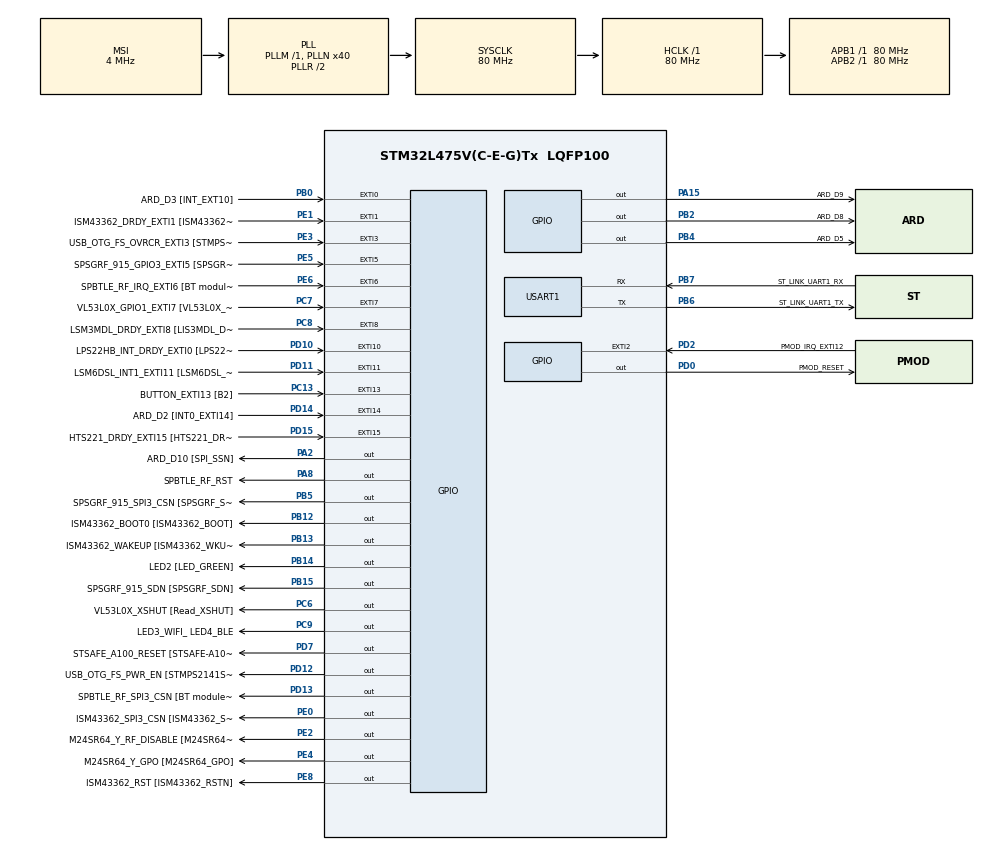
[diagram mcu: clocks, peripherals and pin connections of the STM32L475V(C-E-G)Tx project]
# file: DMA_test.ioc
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ADC1.Channel-0\#ChannelRegularConversion=ADC_CHANNEL_TEMPSENSOR
ADC1.NbrOfConversionFlag=1
ADC1.OffsetNumber-0\#ChannelRegularConversion=ADC_OFFSET_NONE
ADC1.Rank-0\#ChannelRegularConversion=1
ADC1.Resolution=ADC_RESOLUTION_10B
ADC1.SamplingTime-0\#ChannelRegularConversion=ADC_SAMPLETIME_2CYCLES_5
ADC1.master=1
Dma.Request0=USART1_RX
Dma.Request1=USART1_TX
Dma.USART1_RX.0.Direction=DMA_PERIPH_TO_MEMORY
Dma.USART1_RX.0.Instance=DMA1_Channel5
Dma.USART1_RX.0.MemDataAlignment=DMA_MDATAALIGN_BYTE
Dma.USART1_RX.0.MemInc=DMA_MINC_ENABLE
Dma.USART1_RX.0.Mode=DMA_NORMAL
Dma.USART1_RX.0.PeriphDataAlignment=DMA_PDATAALIGN_BYTE
Dma.USART1_RX.0.PeriphInc=DMA_PINC_DISABLE
Dma.USART1_RX.0.Priority=DMA_PRIORITY_LOW
Dma.USART1_TX.1.Direction=DMA_MEMORY_TO_PERIPH
Dma.USART1_TX.1.Instance=DMA1_Channel4
Dma.USART1_TX.1.MemDataAlignment=DMA_MDATAALIGN_BYTE
Dma.USART1_TX.1.MemInc=DMA_MINC_ENABLE
Dma.USART1_TX.1.Mode=DMA_NORMAL
Dma.USART1_TX.1.PeriphDataAlignment=DMA_PDATAALIGN_BYTE
Dma.USART1_TX.1.PeriphInc=DMA_PINC_DISABLE
Dma.USART1_TX.1.Priority=DMA_PRIORITY_LOW
Mcu.Family=STM32L4
Mcu.Name=STM32L475V(C-E-G)Tx
Mcu.Package=LQFP100
NVIC.ADC1_2_IRQn=true\:0\:0\:false\:false\:true\:true
NVIC.DMA1_Channel4_IRQn=true\:0\:0\:false\:false\:true\:false
NVIC.DMA1_Channel5_IRQn=true\:0\:0\:false\:false\:true\:false
NVIC.EXTI15_10_IRQn=true\:0\:0\:false\:false\:true\:true
NVIC.EXTI9_5_IRQn=true\:0\:0\:false\:false\:true\:true
NVIC.PriorityGroup=NVIC_PRIORITYGROUP_4
NVIC.USART1_IRQn=true\:0\:0\:false\:false\:true\:true
PA0.GPIO_Label=ARD_D1 [UART4_TX]
PA0.Signal=UART4_TX
PA1.GPIO_Label=ARD_D0 [UART4_RX]
PA1.Signal=UART4_RX
PA10.GPIO_Label=USB_OTG_FS_ID
PA10.Signal=USB_OTG_FS_ID
PA11.GPIO_Label=USB_OTG_FS_DM
PA11.Signal=USB_OTG_FS_DM
PA12.GPIO_Label=USB_OTG_FS_DP
PA12.Signal=USB_OTG_FS_DP
PA13\ (JTMS-SWDIO).GPIO_Label=SYS_JTMS_SWDIO
PA13\ (JTMS-SWDIO).Signal=SYS_JTMS-SWDIO
PA14\ (JTCK-SWCLK).GPIO_Label=SYS_JTCK_SWCLK
PA14\ (JTCK-SWCLK).Signal=SYS_JTCK-SWCLK
PA15\ (JTDI).GPIO_Label=ARD_D9
PA15\ (JTDI).Signal=GPIO_Output
PA2.GPIO_Label=ARD_D10 [SPI_SSN]
PA2.Signal=GPIO_Output
PA3.GPIO_Label=ARD_D4
PA3.Signal=S_TIM2_CH4
PA4.GPIO_Label=ARD_D7
PA4.Signal=ADCx_IN9
PA5.GPIO_Label=ARD_D13 [SPI1_SCK]
PA5.Signal=SPI1_SCK
PA6.GPIO_Label=ARD_D12 [SPI1_MISO]
PA6.Signal=SPI1_MISO
PA7.GPIO_Label=ARD_D11 [SPI1_MOSI]
PA7.Signal=SPI1_MOSI
PA8.GPIO_Label=SPBTLE_RF_RST
PA8.Signal=GPIO_Output
PA9.GPIO_Label=USB_OTG_FS_VBUS [STMPS2141STR_OUT]
PA9.Signal=USB_OTG_FS_VBUS
PB0.GPIO_Label=ARD_D3 [INT_EXT10]
PB0.Signal=GPXTI0
PB1.GPIO_Label=ARD_D6 [ADC1_IN6]
PB1.Signal=ADCx_IN16
PB10.GPIO_Label=INTERNAL_I2C2_SCL [VL53L0X_SCL]
PB10.Signal=I2C2_SCL
PB11.GPIO_Label=INTERNAL_I2C2_SDA [VL53L0X_SDA]
PB11.Signal=I2C2_SDA
PB12.GPIO_Label=ISM43362_BOOT0 [ISM43362_BOOT]
PB12.Signal=GPIO_Output
PB13.GPIO_Label=ISM43362_WAKEUP [ISM43362_WKUP]
PB13.Signal=GPIO_Output
PB14.GPIO_Label=LED2 [LED_GREEN]
PB14.Signal=GPIO_Output
PB15.GPIO_Label=SPSGRF_915_SDN [SPSGRF_SDN]
PB15.Signal=GPIO_Output
PB2.GPIO_Label=ARD_D8
PB2.Signal=GPIO_Output
PB3\ (JTDO-TRACESWO).GPIO_Label=SYS_JTD0_SWO
PB3\ (JTDO-TRACESWO).Signal=SYS_JTDO-SWO
PB4\ (NJTRST).GPIO_Label=ARD_D5
PB4\ (NJTRST).Signal=GPIO_Output
PB5.GPIO_Label=SPSGRF_915_SPI3_CSN [SPSGRF_SPI_CS]
PB5.Signal=GPIO_Output
PB6.GPIO_Label=ST_LINK_UART1_TX
PB6.Mode=Asynchronous
PB6.Signal=USART1_TX
PB7.GPIO_Label=ST_LINK_UART1_RX
PB7.Mode=Asynchronous
PB7.Signal=USART1_RX
PB8.GPIO_Label=ARD_D15 [I2C1_SCL]
PB8.Signal=I2C1_SCL
PB9.GPIO_Label=ARD_D14 [I2C1_SDA]
PB9.Signal=I2C1_SDA
PC0.GPIO_Label=ARD_A5 [ADC]
PC0.Signal=ADCx_IN1
PC1.GPIO_Label=ARD_A4 [ADC]
PC1.Signal=ADCx_IN2
PC10.GPIO_Label=INTERNAL_SPI3_SCK [BT module_SPI_SCLK]
PC10.Signal=SPI3_SCK
PC11.GPIO_Label=INTERNAL_SPI3_MISO [BT module_SPI_MISO]
PC11.Signal=SPI3_MISO
PC12.GPIO_Label=INTERNAL_SPI3_MOSI [BT module_SPI_MOSI]
PC12.Signal=SPI3_MOSI
PC13.GPIO_Label=BUTTON_EXTI13 [B2]
PC13.GPIO_ModeDefaultEXTI=GPIO_MODE_IT_FALLING
PC13.Signal=GPXTI13
PC14-OSC32_IN\ (PC14).Signal=RCC_OSC32_IN
PC15-OSC32_OUT\ (PC15).Signal=RCC_OSC32_OUT
PC2.GPIO_Label=ARD_A3 [ADC]
PC2.Signal=ADCx_IN3
PC3.GPIO_Label=ARD_A2 [ADC]
PC3.Signal=ADCx_IN4
PC4.GPIO_Label=ARD_A1 [ADC]
PC4.Signal=ADCx_IN13
PC5.GPIO_Label=ARD_A0 [ADC]
PC5.Signal=ADCx_IN14
PC6.GPIO_Label=VL53L0X_XSHUT [Read_XSHUT]
PC6.Signal=GPIO_Output
PC7.GPIO_Label=VL53L0X_GPIO1_EXTI7 [VL53L0X_GPIO1]
PC7.Signal=GPXTI7
PC8.GPIO_Label=LSM3MDL_DRDY_EXTI8 [LIS3MDL_DRDY]
PC8.Signal=GPXTI8
PC9.GPIO_Label=LED3_WIFI_ LED4_BLE
PC9.Signal=GPIO_Output
PD0.GPIO_Label=PMOD_RESET
PD0.Signal=GPIO_Output
PD1.GPIO_Label=PMOD_SPI2_SCK
PD1.Signal=SPI2_SCK
PD10.GPIO_Label=LPS22HB_INT_DRDY_EXTI0 [LPS22HB_INT_DRDY] 
PD10.Signal=GPXTI10
PD11.GPIO_Label=LSM6DSL_INT1_EXTI11 [LSM6DSL_INT1]
PD11.Signal=GPXTI11
PD12.GPIO_Label=USB_OTG_FS_PWR_EN [STMPS2141STR_EN]
PD12.Signal=GPIO_Output
PD13.GPIO_Label=SPBTLE_RF_SPI3_CSN [BT module_SPI_CS]
PD13.Signal=GPIO_Output
PD14.GPIO_Label=ARD_D2 [INT0_EXTI14]
PD14.Signal=GPXTI14
PD15.GPIO_Label=HTS221_DRDY_EXTI15 [HTS221_DRDY]
PD15.Signal=GPXTI15
PD2.GPIO_Label=PMOD_IRQ_EXTI12
PD2.Signal=GPXTI2
PD3.GPIO_Label=PMOD_UART2_CTS
PD3.Signal=USART2_CTS
PD4.GPIO_Label=PMOD_UART2_RTS
PD4.Signal=USART2_RTS
PD5.GPIO_Label=PMOD_UART2_TX
PD5.Signal=USART2_TX
PD6.GPIO_Label=PMOD_UART2_RX
PD6.Signal=USART2_RX
PD7.GPIO_Label=STSAFE_A100_RESET [STSAFE-A100_RESET]
PD7.Signal=GPIO_Output
PD8.GPIO_Label=INTERNAL_UART3_TX [ISM43362_RX]
PD8.Signal=USART3_TX
PD9.GPIO_Label=INTERNAL_UART3_RX [ISM43362_TX]
PD9.Signal=USART3_RX
PE0.GPIO_Label=ISM43362_SPI3_CSN [ISM43362_SSN]
PE0.Signal=GPIO_Output
PE1.GPIO_Label=ISM43362_DRDY_EXTI1 [ISM43362_DATARDY]
PE1.Signal=GPXTI1
PE10.GPIO_Label=QUADSPI_CLK [MX25R6435F_SCLK]
PE10.Signal=QUADSPI_CLK
PE11.GPIO_Label=QUADSPI_NCS [MX25R6435F_SCLK]
PE11.Signal=QUADSPI_NCS
PE12.GPIO_Label=OQUADSPI_BK1_IO0 [MX25R6435F_IO0]
PE12.Signal=QUADSPI_BK1_IO0
PE13.GPIO_Label=QUADSPI_BK1_IO1 [MX25R6435F_IO1]
PE13.Signal=QUADSPI_BK1_IO1
PE14.GPIO_Label=QUAD_SPI_BK1_IO2 [MX25R6435F_IO2]
PE14.Signal=QUADSPI_BK1_IO2
PE15.GPIO_Label=QUAD_SPI_BK1_IO3 [MX25R6435F_IO3]
PE15.Signal=QUADSPI_BK1_IO3
PE2.GPIO_Label=M24SR64_Y_RF_DISABLE [M24SR64_RFDIS]
PE2.Signal=GPIO_Output
PE3.GPIO_Label=USB_OTG_FS_OVRCR_EXTI3 [STMPS2141STR_FAULT]
PE3.Signal=GPXTI3
PE4.GPIO_Label=M24SR64_Y_GPO [M24SR64_GPO]
PE4.Signal=GPIO_Output
PE5.GPIO_Label=SPSGRF_915_GPIO3_EXTI5 [SPSGRF_GPIO_3]
PE5.Signal=GPXTI5
PE6.GPIO_Label=SPBTLE_RF_IRQ_EXTI6 [BT module_SPI_IRQ]
PE6.Signal=GPXTI6
PE7.GPIO_Label=DFSDM1_DATIN2 [MP34DT01_DOUT]
PE7.Signal=S_DATAIN2DFSDM1
PE8.GPIO_Label=ISM43362_RST [ISM43362_RSTN]
PE8.Signal=GPIO_Output
PE9.GPIO_Label=DFSDM1_CKOUT [MP34DT01_CLK]
PE9.Signal=S_CKOUTDFSDM1
ProjectManager.HeapSize=0x200
ProjectManager.StackSize=0x400
ProjectManager.TargetToolchain=MDK-ARM V5
RCC.ADCFreq_Value=48000000
RCC.AHBFreq_Value=80000000
RCC.APB1Freq_Value=80000000
RCC.APB1TimFreq_Value=80000000
RCC.APB2Freq_Value=80000000
RCC.APB2TimFreq_Value=80000000
RCC.CortexFreq_Value=80000000
RCC.HCLKFreq_Value=80000000
RCC.HSE_VALUE=8000000
RCC.HSI_VALUE=16000000
RCC.LSE_VALUE=32768
RCC.MSI_VALUE=4000000
RCC.PLLN=40
RCC.PLLSAI1N=24
RCC.SYSCLKFreq_VALUE=80000000
RCC.SYSCLKSource=RCC_SYSCLKSOURCE_PLLCLK
RCC.USBFreq_Value=48000000
RCC.VCOOutputFreq_Value=160000000
SH.ADCx_IN1.0=ADC1_IN1
SH.ADCx_IN13.0=ADC1_IN13
SH.ADCx_IN14.0=ADC1_IN14
SH.ADCx_IN16.0=ADC1_IN16
SH.ADCx_IN2.0=ADC1_IN2
SH.ADCx_IN3.0=ADC1_IN3
SH.ADCx_IN4.0=ADC1_IN4
SH.ADCx_IN9.0=ADC1_IN9
SH.S_CKOUTDFSDM1.0=DFSDM1_CKOUT
SH.S_DATAIN2DFSDM1.0=DFSDM1_DATIN2
SH.S_TIM2_CH4.0=TIM2_CH4
USART1.VirtualMode-Asynchronous=VM_ASYNC
VP_ADC1_TempSens_Input.Mode=IN-TempSens
board=B-L475E-IOT01A

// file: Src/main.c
/**
  ******************************************************************************
  * @file           : main.c
  * @brief          : Main program body
  ******************************************************************************
  ** This notice applies to any and all portions of this file
  * that are not between comment pairs USER CODE BEGIN and
  * USER CODE END. Other portions of this file, whether
  * inserted by the user or by software development tools
  * are owned by their respective copyright owners.
  *
  * COPYRIGHT(c) 2018 STMicroelectronics
  *
  * Redistribution and use in source and binary forms, with or without modification,
  * are permitted provided that the following conditions are met:
  *   1. Redistributions of source code must retain the above copyright notice,
  *      this list of conditions and the following disclaimer.
  *   2. Redistributions in binary form must reproduce the above copyright notice,
  *      this list of conditions and the following disclaimer in the documentation
  *      and/or other materials provided with the distribution.
  *   3. Neither the name of STMicroelectronics nor the names of its contributors
  *      may be used to endorse or promote products derived from this software
  *      without specific prior written permission.
  *
  * THIS SOFTWARE IS PROVIDED BY THE COPYRIGHT HOLDERS AND CONTRIBUTORS "AS IS"
  * AND ANY EXPRESS OR IMPLIED WARRANTIES, INCLUDING, BUT NOT LIMITED TO, THE
  * IMPLIED WARRANTIES OF MERCHANTABILITY AND FITNESS FOR A PARTICULAR PURPOSE ARE
  * DISCLAIMED. IN NO EVENT SHALL THE COPYRIGHT HOLDER OR CONTRIBUTORS BE LIABLE
  * FOR ANY DIRECT, INDIRECT, INCIDENTAL, SPECIAL, EXEMPLARY, OR CONSEQUENTIAL
  * DAMAGES (INCLUDING, BUT NOT LIMITED TO, PROCUREMENT OF SUBSTITUTE GOODS OR
  * SERVICES; LOSS OF USE, DATA, OR PROFITS; OR BUSINESS INTERRUPTION) HOWEVER
  * CAUSED AND ON ANY THEORY OF LIABILITY, WHETHER IN CONTRACT, STRICT LIABILITY,
  * OR TORT (INCLUDING NEGLIGENCE OR OTHERWISE) ARISING IN ANY WAY OUT OF THE USE
  * OF THIS SOFTWARE, EVEN IF ADVISED OF THE POSSIBILITY OF SUCH DAMAGE.
  *
  ******************************************************************************
  */
#include "main.h"
#include "stm32l4xx_hal.h"

ADC_HandleTypeDef hadc1;

UART_HandleTypeDef huart1;
DMA_HandleTypeDef hdma_usart1_rx;
DMA_HandleTypeDef hdma_usart1_tx;

/* USER CODE BEGIN PV */
/* Private variables ---------------------------------------------------------*/
uint8_t sensorTemp;
int tens;
int ones;
int realTemp;
int t;
uint32_t Reload;
int flag;
/* USER CODE END PV */

void SystemClock_Config(void);
static void MX_GPIO_Init(void);
static void MX_DMA_Init(void);
static void MX_ADC1_Init(void);
static void MX_USART1_UART_Init(void);

/* USER CODE BEGIN PFP */
/* Private function prototypes -----------------------------------------------*/
int UART_Print_String(UART_HandleTypeDef * uart_pointer, char * array_ptr, int no_of_items);
int UART_Print_String_DMA(UART_HandleTypeDef * uart_pointer, char * array, int no_of_items);
/* USER CODE END PFP */

int main(void)
{
  /* USER CODE BEGIN 1 */
	char ch[5] = {'j','o','b','s','\n'};
	char temp[18]= {'T','e','m','p','e','r','a','t','u','r','e',':',' ','0','0','C','\r','\n'};
	char array[30];
	int counter = 0;
  /* USER CODE END 1 */

  /* MCU Configuration----------------------------------------------------------*/

  /* Reset of all peripherals, Initializes the Flash interface and the Systick. */
  HAL_Init();

  /* Configure the system clock */
  SystemClock_Config();

  /* Initialize all configured peripherals */
  MX_GPIO_Init();
  MX_DMA_Init();
  MX_ADC1_Init();
  MX_USART1_UART_Init();

  /* Infinite loop */
  /* USER CODE BEGIN WHILE */
  while (1)
  {
		// dma
		//HAL_DMA_Start(&hdma_usart1_tx, sensorTemp, (uint32_t)&array, 30);
		//HAL_Delay(100);

		// using interrupt
		if(flag == 1) {
			HAL_ADC_Start(&hadc1);
			HAL_DMA_Start(&hdma_usart1_tx, sensorTemp, (uint32_t)&array, 30);
			flag = 0;

		// end of interrupt code

			// look for temperature vals
			if(HAL_ADC_PollForConversion(&hadc1, 3000) == HAL_OK){
				//HAL_ADC_ConvCpltCallback(&hadc1);
				sensorTemp = (uint8_t)HAL_ADC_GetValue(&hadc1);
				//HAL_ADC_Stop(&hadc1);

				//HAL_UART_Transmit(&huart1, (uint8_t *)&ch[0], 5, 30000);
				//sensorTemp = sensorTemp *(100/256);
				sensorTemp = __HAL_ADC_CALC_TEMPERATURE(3300,sensorTemp, ADC_RESOLUTION_10B);
				//sensorTemp -= 20; //for calibration
				//realTemp =(sensorTemp - 760)/(2.5 + 25);

				//tens = (realTemp/10);
				tens = (sensorTemp/10);
				ones = sensorTemp-(tens*10);
				//ones = (realTemp % 10);

				//holder = tens + '0';
				//holder2 = ones + '0';

				temp[13] = tens + '0';
				temp[14] = ones + '0';

				if (counter < 30){
					array[counter] = tens + '0';
					counter++;
					array[counter] = ones + '0';
					counter++;
					array[counter] = '\n';
					counter++;
				}
				if (counter == 30) {
					UART_Print_String_DMA(&huart1, &array[0], 30);

					// HAL_UART_Transmit_DMA(&huart1, (uint8_t *) array, 30);
					//UART_Print_String(&huart1, &array[0], 30);
					counter = 0;
				}
				//UART_Print_String(&huart1, &temp[0], 18);
				//HAL_UART_Transmit(&huart1, (uint8_t *)&temp[0], 18, 3000);
			}
		}

  /* USER CODE END WHILE */

  }

}

void SystemClock_Config(void)
{

  RCC_OscInitTypeDef RCC_OscInitStruct;
  RCC_ClkInitTypeDef RCC_ClkInitStruct;
  RCC_PeriphCLKInitTypeDef PeriphClkInit;

    /**Initializes the CPU, AHB and APB busses clocks
    */
  RCC_OscInitStruct.OscillatorType = RCC_OSCILLATORTYPE_MSI;
  RCC_OscInitStruct.MSIState = RCC_MSI_ON;
  RCC_OscInitStruct.MSICalibrationValue = 0;
  RCC_OscInitStruct.MSIClockRange = RCC_MSIRANGE_6;
  RCC_OscInitStruct.PLL.PLLState = RCC_PLL_ON;
  RCC_OscInitStruct.PLL.PLLSource = RCC_PLLSOURCE_MSI;
  RCC_OscInitStruct.PLL.PLLM = 1;
  RCC_OscInitStruct.PLL.PLLN = 40;
  RCC_OscInitStruct.PLL.PLLP = RCC_PLLP_DIV7;
  RCC_OscInitStruct.PLL.PLLQ = RCC_PLLQ_DIV2;
  RCC_OscInitStruct.PLL.PLLR = RCC_PLLR_DIV2;
  if (HAL_RCC_OscConfig(&RCC_OscInitStruct) != HAL_OK)
  {
    _Error_Handler(__FILE__, __LINE__);
  }

    /**Initializes the CPU, AHB and APB busses clocks
    */
  RCC_ClkInitStruct.ClockType = RCC_CLOCKTYPE_HCLK|RCC_CLOCKTYPE_SYSCLK
                              |RCC_CLOCKTYPE_PCLK1|RCC_CLOCKTYPE_PCLK2;
  RCC_ClkInitStruct.SYSCLKSource = RCC_SYSCLKSOURCE_PLLCLK;
  RCC_ClkInitStruct.AHBCLKDivider = RCC_SYSCLK_DIV1;
  RCC_ClkInitStruct.APB1CLKDivider = RCC_HCLK_DIV1;
  RCC_ClkInitStruct.APB2CLKDivider = RCC_HCLK_DIV1;

  if (HAL_RCC_ClockConfig(&RCC_ClkInitStruct, FLASH_LATENCY_4) != HAL_OK)
  {
    _Error_Handler(__FILE__, __LINE__);
  }

  PeriphClkInit.PeriphClockSelection = RCC_PERIPHCLK_USART1|RCC_PERIPHCLK_ADC;
  PeriphClkInit.Usart1ClockSelection = RCC_USART1CLKSOURCE_PCLK2;
  PeriphClkInit.AdcClockSelection = RCC_ADCCLKSOURCE_PLLSAI1;
  PeriphClkInit.PLLSAI1.PLLSAI1Source = RCC_PLLSOURCE_MSI;
  PeriphClkInit.PLLSAI1.PLLSAI1M = 1;
  PeriphClkInit.PLLSAI1.PLLSAI1N = 24;
  PeriphClkInit.PLLSAI1.PLLSAI1P = RCC_PLLP_DIV7;
  PeriphClkInit.PLLSAI1.PLLSAI1Q = RCC_PLLQ_DIV2;
  PeriphClkInit.PLLSAI1.PLLSAI1R = RCC_PLLR_DIV2;
  PeriphClkInit.PLLSAI1.PLLSAI1ClockOut = RCC_PLLSAI1_ADC1CLK;
  if (HAL_RCCEx_PeriphCLKConfig(&PeriphClkInit) != HAL_OK)
  {
    _Error_Handler(__FILE__, __LINE__);
  }

    /**Configure the main internal regulator output voltage
    */
  if (HAL_PWREx_ControlVoltageScaling(PWR_REGULATOR_VOLTAGE_SCALE1) != HAL_OK)
  {
    _Error_Handler(__FILE__, __LINE__);
  }

    /**Configure the Systick interrupt time
    */
  HAL_SYSTICK_Config(HAL_RCC_GetHCLKFreq()/1000);

    /**Configure the Systick
    */
  HAL_SYSTICK_CLKSourceConfig(SYSTICK_CLKSOURCE_HCLK);

  /* SysTick_IRQn interrupt configuration */
  HAL_NVIC_SetPriority(SysTick_IRQn, 0, 0);
}

/* ADC1 init function */
static void MX_ADC1_Init(void)
{

  ADC_MultiModeTypeDef multimode;
  ADC_ChannelConfTypeDef sConfig;

    /**Common config
    */
  hadc1.Instance = ADC1;
  hadc1.Init.ClockPrescaler = ADC_CLOCK_ASYNC_DIV1;
  hadc1.Init.Resolution = ADC_RESOLUTION_10B;
  hadc1.Init.DataAlign = ADC_DATAALIGN_RIGHT;
  hadc1.Init.ScanConvMode = ADC_SCAN_DISABLE;
  hadc1.Init.EOCSelection = ADC_EOC_SINGLE_CONV;
  hadc1.Init.LowPowerAutoWait = DISABLE;
  hadc1.Init.ContinuousConvMode = DISABLE;
  hadc1.Init.NbrOfConversion = 1;
  hadc1.Init.DiscontinuousConvMode = DISABLE;
  hadc1.Init.ExternalTrigConv = ADC_SOFTWARE_START;
  hadc1.Init.ExternalTrigConvEdge = ADC_EXTERNALTRIGCONVEDGE_NONE;
  hadc1.Init.DMAContinuousRequests = DISABLE;
  hadc1.Init.Overrun = ADC_OVR_DATA_PRESERVED;
  hadc1.Init.OversamplingMode = DISABLE;
  if (HAL_ADC_Init(&hadc1) != HAL_OK)
  {
    _Error_Handler(__FILE__, __LINE__);
  }

    /**Configure the ADC multi-mode
    */
  multimode.Mode = ADC_MODE_INDEPENDENT;
  if (HAL_ADCEx_MultiModeConfigChannel(&hadc1, &multimode) != HAL_OK)
  {
    _Error_Handler(__FILE__, __LINE__);
  }

    /**Configure Regular Channel
    */
  sConfig.Channel = ADC_CHANNEL_TEMPSENSOR;
  sConfig.Rank = ADC_REGULAR_RANK_1;
  sConfig.SamplingTime = ADC_SAMPLETIME_2CYCLES_5;
  sConfig.SingleDiff = ADC_SINGLE_ENDED;
  sConfig.OffsetNumber = ADC_OFFSET_NONE;
  sConfig.Offset = 0;
  if (HAL_ADC_ConfigChannel(&hadc1, &sConfig) != HAL_OK)
  {
    _Error_Handler(__FILE__, __LINE__);
  }

}

/* USART1 init function */
static void MX_USART1_UART_Init(void)
{

  huart1.Instance = USART1;
  huart1.Init.BaudRate = 115200;
  huart1.Init.WordLength = UART_WORDLENGTH_8B;
  huart1.Init.StopBits = UART_STOPBITS_1;
  huart1.Init.Parity = UART_PARITY_NONE;
  huart1.Init.Mode = UART_MODE_TX_RX;
  huart1.Init.HwFlowCtl = UART_HWCONTROL_NONE;
  huart1.Init.OverSampling = UART_OVERSAMPLING_16;
  huart1.Init.OneBitSampling = UART_ONE_BIT_SAMPLE_DISABLE;
  huart1.AdvancedInit.AdvFeatureInit = UART_ADVFEATURE_NO_INIT;
  if (HAL_UART_Init(&huart1) != HAL_OK)
  {
    _Error_Handler(__FILE__, __LINE__);
  }

}

static void MX_DMA_Init(void)
{
  /* DMA controller clock enable */
  __HAL_RCC_DMA1_CLK_ENABLE();

  /* DMA interrupt init */
  /* DMA1_Channel4_IRQn interrupt configuration */
  HAL_NVIC_SetPriority(DMA1_Channel4_IRQn, 0, 0);
  HAL_NVIC_EnableIRQ(DMA1_Channel4_IRQn);
  /* DMA1_Channel5_IRQn interrupt configuration */
  HAL_NVIC_SetPriority(DMA1_Channel5_IRQn, 0, 0);
  HAL_NVIC_EnableIRQ(DMA1_Channel5_IRQn);

}

/** Configure pins as
        * Analog
        * Input
        * Output
        * EVENT_OUT
        * EXTI
     PA0   ------> UART4_TX
     PA1   ------> UART4_RX
     PA3   ------> S_TIM2_CH4
     PA5   ------> SPI1_SCK
     PA6   ------> SPI1_MISO
     PA7   ------> SPI1_MOSI
     PE7   ------> S_DATAIN2DFSDM1
     PE9   ------> S_CKOUTDFSDM1
     PE10   ------> QUADSPI_CLK
     PE11   ------> QUADSPI_NCS
     PE12   ------> QUADSPI_BK1_IO0
     PE13   ------> QUADSPI_BK1_IO1
     PE14   ------> QUADSPI_BK1_IO2
     PE15   ------> QUADSPI_BK1_IO3
     PB10   ------> I2C2_SCL
     PB11   ------> I2C2_SDA
     PD8   ------> USART3_TX
     PD9   ------> USART3_RX
     PA9   ------> USB_OTG_FS_VBUS
     PA10   ------> USB_OTG_FS_ID
     PA11   ------> USB_OTG_FS_DM
     PA12   ------> USB_OTG_FS_DP
     PC10   ------> SPI3_SCK
     PC11   ------> SPI3_MISO
     PC12   ------> SPI3_MOSI
     PD1   ------> SPI2_SCK
     PD3   ------> USART2_CTS
     PD4   ------> USART2_RTS
     PD5   ------> USART2_TX
     PD6   ------> USART2_RX
     PB8   ------> I2C1_SCL
     PB9   ------> I2C1_SDA
*/
static void MX_GPIO_Init(void)
{

  GPIO_InitTypeDef GPIO_InitStruct;

  /* GPIO Ports Clock Enable */
  __HAL_RCC_GPIOE_CLK_ENABLE();
  __HAL_RCC_GPIOC_CLK_ENABLE();
  __HAL_RCC_GPIOA_CLK_ENABLE();
  __HAL_RCC_GPIOB_CLK_ENABLE();
  __HAL_RCC_GPIOD_CLK_ENABLE();

  /*Configure GPIO pin Output Level */
  HAL_GPIO_WritePin(GPIOE, M24SR64_Y_RF_DISABLE_Pin|M24SR64_Y_GPO_Pin|ISM43362_RST_Pin|ISM43362_SPI3_CSN_Pin, GPIO_PIN_RESET);

  /*Configure GPIO pin Output Level */
  HAL_GPIO_WritePin(GPIOA, ARD_D10_Pin|SPBTLE_RF_RST_Pin|ARD_D9_Pin, GPIO_PIN_RESET);

  /*Configure GPIO pin Output Level */
  HAL_GPIO_WritePin(GPIOB, ARD_D8_Pin|ISM43362_BOOT0_Pin|ISM43362_WAKEUP_Pin|LED2_Pin
                          |SPSGRF_915_SDN_Pin|ARD_D5_Pin|SPSGRF_915_SPI3_CSN_Pin, GPIO_PIN_RESET);

  /*Configure GPIO pin Output Level */
  HAL_GPIO_WritePin(GPIOD, USB_OTG_FS_PWR_EN_Pin|SPBTLE_RF_SPI3_CSN_Pin|PMOD_RESET_Pin|STSAFE_A100_RESET_Pin, GPIO_PIN_RESET);

  /*Configure GPIO pin Output Level */
  HAL_GPIO_WritePin(GPIOC, VL53L0X_XSHUT_Pin|LED3_WIFI__LED4_BLE_Pin, GPIO_PIN_RESET);

  /*Configure GPIO pins : M24SR64_Y_RF_DISABLE_Pin M24SR64_Y_GPO_Pin ISM43362_RST_Pin ISM43362_SPI3_CSN_Pin */
  GPIO_InitStruct.Pin = M24SR64_Y_RF_DISABLE_Pin|M24SR64_Y_GPO_Pin|ISM43362_RST_Pin|ISM43362_SPI3_CSN_Pin;
  GPIO_InitStruct.Mode = GPIO_MODE_OUTPUT_PP;
  GPIO_InitStruct.Pull = GPIO_NOPULL;
  GPIO_InitStruct.Speed = GPIO_SPEED_FREQ_LOW;
  HAL_GPIO_Init(GPIOE, &GPIO_InitStruct);

  /*Configure GPIO pins : USB_OTG_FS_OVRCR_EXTI3_Pin SPSGRF_915_GPIO3_EXTI5_Pin SPBTLE_RF_IRQ_EXTI6_Pin ISM43362_DRDY_EXTI1_Pin */
  GPIO_InitStruct.Pin = USB_OTG_FS_OVRCR_EXTI3_Pin|SPSGRF_915_GPIO3_EXTI5_Pin|SPBTLE_RF_IRQ_EXTI6_Pin|ISM43362_DRDY_EXTI1_Pin;
  GPIO_InitStruct.Mode = GPIO_MODE_IT_RISING;
  GPIO_InitStruct.Pull = GPIO_NOPULL;
  HAL_GPIO_Init(GPIOE, &GPIO_InitStruct);

  /*Configure GPIO pin : BUTTON_EXTI13_Pin */
  GPIO_InitStruct.Pin = BUTTON_EXTI13_Pin;
  GPIO_InitStruct.Mode = GPIO_MODE_IT_FALLING;
  GPIO_InitStruct.Pull = GPIO_NOPULL;
  HAL_GPIO_Init(BUTTON_EXTI13_GPIO_Port, &GPIO_InitStruct);

  /*Configure GPIO pins : ARD_D1_Pin ARD_D0_Pin */
  GPIO_InitStruct.Pin = ARD_D1_Pin|ARD_D0_Pin;
  GPIO_InitStruct.Mode = GPIO_MODE_AF_PP;
  GPIO_InitStruct.Pull = GPIO_NOPULL;
  GPIO_InitStruct.Speed = GPIO_SPEED_FREQ_VERY_HIGH;
  GPIO_InitStruct.Alternate = GPIO_AF8_UART4;
  HAL_GPIO_Init(GPIOA, &GPIO_InitStruct);

  /*Configure GPIO pins : ARD_D10_Pin SPBTLE_RF_RST_Pin ARD_D9_Pin */
  GPIO_InitStruct.Pin = ARD_D10_Pin|SPBTLE_RF_RST_Pin|ARD_D9_Pin;
  GPIO_InitStruct.Mode = GPIO_MODE_OUTPUT_PP;
  GPIO_InitStruct.Pull = GPIO_NOPULL;
  GPIO_InitStruct.Speed = GPIO_SPEED_FREQ_LOW;
  HAL_GPIO_Init(GPIOA, &GPIO_InitStruct);

  /*Configure GPIO pin : ARD_D4_Pin */
  GPIO_InitStruct.Pin = ARD_D4_Pin;
  GPIO_InitStruct.Mode = GPIO_MODE_AF_PP;
  GPIO_InitStruct.Pull = GPIO_NOPULL;
  GPIO_InitStruct.Speed = GPIO_SPEED_FREQ_LOW;
  GPIO_InitStruct.Alternate = GPIO_AF1_TIM2;
  HAL_GPIO_Init(ARD_D4_GPIO_Port, &GPIO_InitStruct);

  /*Configure GPIO pins : ARD_D13_Pin ARD_D12_Pin ARD_D11_Pin */
  GPIO_InitStruct.Pin = ARD_D13_Pin|ARD_D12_Pin|ARD_D11_Pin;
  GPIO_InitStruct.Mode = GPIO_MODE_AF_PP;
  GPIO_InitStruct.Pull = GPIO_NOPULL;
  GPIO_InitStruct.Speed = GPIO_SPEED_FREQ_VERY_HIGH;
  GPIO_InitStruct.Alternate = GPIO_AF5_SPI1;
  HAL_GPIO_Init(GPIOA, &GPIO_InitStruct);

  /*Configure GPIO pin : ARD_D3_Pin */
  GPIO_InitStruct.Pin = ARD_D3_Pin;
  GPIO_InitStruct.Mode = GPIO_MODE_IT_RISING;
  GPIO_InitStruct.Pull = GPIO_NOPULL;
  HAL_GPIO_Init(ARD_D3_GPIO_Port, &GPIO_InitStruct);

  /*Configure GPIO pins : ARD_D8_Pin ISM43362_BOOT0_Pin ISM43362_WAKEUP_Pin LED2_Pin
                           SPSGRF_915_SDN_Pin ARD_D5_Pin SPSGRF_915_SPI3_CSN_Pin */
  GPIO_InitStruct.Pin = ARD_D8_Pin|ISM43362_BOOT0_Pin|ISM43362_WAKEUP_Pin|LED2_Pin
                          |SPSGRF_915_SDN_Pin|ARD_D5_Pin|SPSGRF_915_SPI3_CSN_Pin;
  GPIO_InitStruct.Mode = GPIO_MODE_OUTPUT_PP;
  GPIO_InitStruct.Pull = GPIO_NOPULL;
  GPIO_InitStruct.Speed = GPIO_SPEED_FREQ_LOW;
  HAL_GPIO_Init(GPIOB, &GPIO_InitStruct);

  /*Configure GPIO pins : DFSDM1_DATIN2_Pin DFSDM1_CKOUT_Pin */
  GPIO_InitStruct.Pin = DFSDM1_DATIN2_Pin|DFSDM1_CKOUT_Pin;
  GPIO_InitStruct.Mode = GPIO_MODE_AF_PP;
  GPIO_InitStruct.Pull = GPIO_NOPULL;
  GPIO_InitStruct.Speed = GPIO_SPEED_FREQ_LOW;
  GPIO_InitStruct.Alternate = GPIO_AF6_DFSDM1;
  HAL_GPIO_Init(GPIOE, &GPIO_InitStruct);

  /*Configure GPIO pins : QUADSPI_CLK_Pin QUADSPI_NCS_Pin OQUADSPI_BK1_IO0_Pin QUADSPI_BK1_IO1_Pin
                           QUAD_SPI_BK1_IO2_Pin QUAD_SPI_BK1_IO3_Pin */
  GPIO_InitStruct.Pin = QUADSPI_CLK_Pin|QUADSPI_NCS_Pin|OQUADSPI_BK1_IO0_Pin|QUADSPI_BK1_IO1_Pin
                          |QUAD_SPI_BK1_IO2_Pin|QUAD_SPI_BK1_IO3_Pin;
  GPIO_InitStruct.Mode = GPIO_MODE_AF_PP;
  GPIO_InitStruct.Pull = GPIO_NOPULL;
  GPIO_InitStruct.Speed = GPIO_SPEED_FREQ_VERY_HIGH;
  GPIO_InitStruct.Alternate = GPIO_AF10_QUADSPI;
  HAL_GPIO_Init(GPIOE, &GPIO_InitStruct);

  /*Configure GPIO pins : INTERNAL_I2C2_SCL_Pin INTERNAL_I2C2_SDA_Pin */
  GPIO_InitStruct.Pin = INTERNAL_I2C2_SCL_Pin|INTERNAL_I2C2_SDA_Pin;
  GPIO_InitStruct.Mode = GPIO_MODE_AF_OD;
  GPIO_InitStruct.Pull = GPIO_PULLUP;
  GPIO_InitStruct.Speed = GPIO_SPEED_FREQ_VERY_HIGH;
  GPIO_InitStruct.Alternate = GPIO_AF4_I2C2;
  HAL_GPIO_Init(GPIOB, &GPIO_InitStruct);

  /*Configure GPIO pins : INTERNAL_UART3_TX_Pin INTERNAL_UART3_RX_Pin */
  GPIO_InitStruct.Pin = INTERNAL_UART3_TX_Pin|INTERNAL_UART3_RX_Pin;
  GPIO_InitStruct.Mode = GPIO_MODE_AF_PP;
  GPIO_InitStruct.Pull = GPIO_NOPULL;
  GPIO_InitStruct.Speed = GPIO_SPEED_FREQ_VERY_HIGH;
  GPIO_InitStruct.Alternate = GPIO_AF7_USART3;
  HAL_GPIO_Init(GPIOD, &GPIO_InitStruct);

  /*Configure GPIO pins : LPS22HB_INT_DRDY_EXTI0_Pin LSM6DSL_INT1_EXTI11_Pin ARD_D2_Pin HTS221_DRDY_EXTI15_Pin
                           PMOD_IRQ_EXTI12_Pin */
  GPIO_InitStruct.Pin = LPS22HB_INT_DRDY_EXTI0_Pin|LSM6DSL_INT1_EXTI11_Pin|ARD_D2_Pin|HTS221_DRDY_EXTI15_Pin
                          |PMOD_IRQ_EXTI12_Pin;
  GPIO_InitStruct.Mode = GPIO_MODE_IT_RISING;
  GPIO_InitStruct.Pull = GPIO_NOPULL;
  HAL_GPIO_Init(GPIOD, &GPIO_InitStruct);

  /*Configure GPIO pins : USB_OTG_FS_PWR_EN_Pin SPBTLE_RF_SPI3_CSN_Pin PMOD_RESET_Pin STSAFE_A100_RESET_Pin */
  GPIO_InitStruct.Pin = USB_OTG_FS_PWR_EN_Pin|SPBTLE_RF_SPI3_CSN_Pin|PMOD_RESET_Pin|STSAFE_A100_RESET_Pin;
  GPIO_InitStruct.Mode = GPIO_MODE_OUTPUT_PP;
  GPIO_InitStruct.Pull = GPIO_NOPULL;
  GPIO_InitStruct.Speed = GPIO_SPEED_FREQ_LOW;
  HAL_GPIO_Init(GPIOD, &GPIO_InitStruct);

  /*Configure GPIO pins : VL53L0X_XSHUT_Pin LED3_WIFI__LED4_BLE_Pin */
  GPIO_InitStruct.Pin = VL53L0X_XSHUT_Pin|LED3_WIFI__LED4_BLE_Pin;
  GPIO_InitStruct.Mode = GPIO_MODE_OUTPUT_PP;
  GPIO_InitStruct.Pull = GPIO_NOPULL;
  GPIO_InitStruct.Speed = GPIO_SPEED_FREQ_LOW;
  HAL_GPIO_Init(GPIOC, &GPIO_InitStruct);

  /*Configure GPIO pins : VL53L0X_GPIO1_EXTI7_Pin LSM3MDL_DRDY_EXTI8_Pin */
  GPIO_InitStruct.Pin = VL53L0X_GPIO1_EXTI7_Pin|LSM3MDL_DRDY_EXTI8_Pin;
  GPIO_InitStruct.Mode = GPIO_MODE_IT_RISING;
  GPIO_InitStruct.Pull = GPIO_NOPULL;
  HAL_GPIO_Init(GPIOC, &GPIO_InitStruct);

  /*Configure GPIO pin : USB_OTG_FS_VBUS_Pin */
  GPIO_InitStruct.Pin = USB_OTG_FS_VBUS_Pin;
  GPIO_InitStruct.Mode = GPIO_MODE_INPUT;
  GPIO_InitStruct.Pull = GPIO_NOPULL;
  HAL_GPIO_Init(USB_OTG_FS_VBUS_GPIO_Port, &GPIO_InitStruct);

  /*Configure GPIO pins : USB_OTG_FS_ID_Pin USB_OTG_FS_DM_Pin USB_OTG_FS_DP_Pin */
  GPIO_InitStruct.Pin = USB_OTG_FS_ID_Pin|USB_OTG_FS_DM_Pin|USB_OTG_FS_DP_Pin;
  GPIO_InitStruct.Mode = GPIO_MODE_AF_PP;
  GPIO_InitStruct.Pull = GPIO_NOPULL;
  GPIO_InitStruct.Speed = GPIO_SPEED_FREQ_VERY_HIGH;
  GPIO_InitStruct.Alternate = GPIO_AF10_OTG_FS;
  HAL_GPIO_Init(GPIOA, &GPIO_InitStruct);

  /*Configure GPIO pins : INTERNAL_SPI3_SCK_Pin INTERNAL_SPI3_MISO_Pin INTERNAL_SPI3_MOSI_Pin */
  GPIO_InitStruct.Pin = INTERNAL_SPI3_SCK_Pin|INTERNAL_SPI3_MISO_Pin|INTERNAL_SPI3_MOSI_Pin;
  GPIO_InitStruct.Mode = GPIO_MODE_AF_PP;
  GPIO_InitStruct.Pull = GPIO_NOPULL;
  GPIO_InitStruct.Speed = GPIO_SPEED_FREQ_VERY_HIGH;
  GPIO_InitStruct.Alternate = GPIO_AF6_SPI3;
  HAL_GPIO_Init(GPIOC, &GPIO_InitStruct);

  /*Configure GPIO pin : PMOD_SPI2_SCK_Pin */
  GPIO_InitStruct.Pin = PMOD_SPI2_SCK_Pin;
  GPIO_InitStruct.Mode = GPIO_MODE_AF_PP;
  GPIO_InitStruct.Pull = GPIO_NOPULL;
  GPIO_InitStruct.Speed = GPIO_SPEED_FREQ_VERY_HIGH;
  GPIO_InitStruct.Alternate = GPIO_AF5_SPI2;
  HAL_GPIO_Init(PMOD_SPI2_SCK_GPIO_Port, &GPIO_InitStruct);

  /*Configure GPIO pins : PMOD_UART2_CTS_Pin PMOD_UART2_RTS_Pin PMOD_UART2_TX_Pin PMOD_UART2_RX_Pin */
  GPIO_InitStruct.Pin = PMOD_UART2_CTS_Pin|PMOD_UART2_RTS_Pin|PMOD_UART2_TX_Pin|PMOD_UART2_RX_Pin;
  GPIO_InitStruct.Mode = GPIO_MODE_AF_PP;
  GPIO_InitStruct.Pull = GPIO_NOPULL;
  GPIO_InitStruct.Speed = GPIO_SPEED_FREQ_VERY_HIGH;
  GPIO_InitStruct.Alternate = GPIO_AF7_USART2;
  HAL_GPIO_Init(GPIOD, &GPIO_InitStruct);

  /*Configure GPIO pins : ARD_D15_Pin ARD_D14_Pin */
  GPIO_InitStruct.Pin = ARD_D15_Pin|ARD_D14_Pin;
  GPIO_InitStruct.Mode = GPIO_MODE_AF_OD;
  GPIO_InitStruct.Pull = GPIO_PULLUP;
  GPIO_InitStruct.Speed = GPIO_SPEED_FREQ_VERY_HIGH;
  GPIO_InitStruct.Alternate = GPIO_AF4_I2C1;
  HAL_GPIO_Init(GPIOB, &GPIO_InitStruct);

  /* EXTI interrupt init*/
  HAL_NVIC_SetPriority(EXTI9_5_IRQn, 0, 0);
  HAL_NVIC_EnableIRQ(EXTI9_5_IRQn);

  HAL_NVIC_SetPriority(EXTI15_10_IRQn, 0, 0);
  HAL_NVIC_EnableIRQ(EXTI15_10_IRQn);

}

/* USER CODE BEGIN 4 */
int UART_Print_String(UART_HandleTypeDef * uart_pointer, char * array_ptr, int no_of_items){

	// Call the function to print to UART
	HAL_UART_Transmit(uart_pointer, (uint8_t *)array_ptr, no_of_items, 30000);

	if(uart_pointer->gState != 0xE0U) {
		return 1;
	}
	return 0;
}

int UART_Print_String_DMA(UART_HandleTypeDef * uart_pointer, char * array, int no_of_items){

	// Call the function to print to UART
	HAL_UART_Transmit_DMA(uart_pointer, (uint8_t *) array, 30);
	__HAL_UART_ENABLE_IT(uart_pointer, UART_IT_TXE) ;

	if(uart_pointer->gState != 0xE0U) {
		return 1;
	}
	return 0;
}
/* USER CODE END 4 */

void _Error_Handler(char *file, int line)
{
  while(1)
  {
  }
}

/************************ (C) COPYRIGHT STMicroelectronics *****END OF FILE****/
